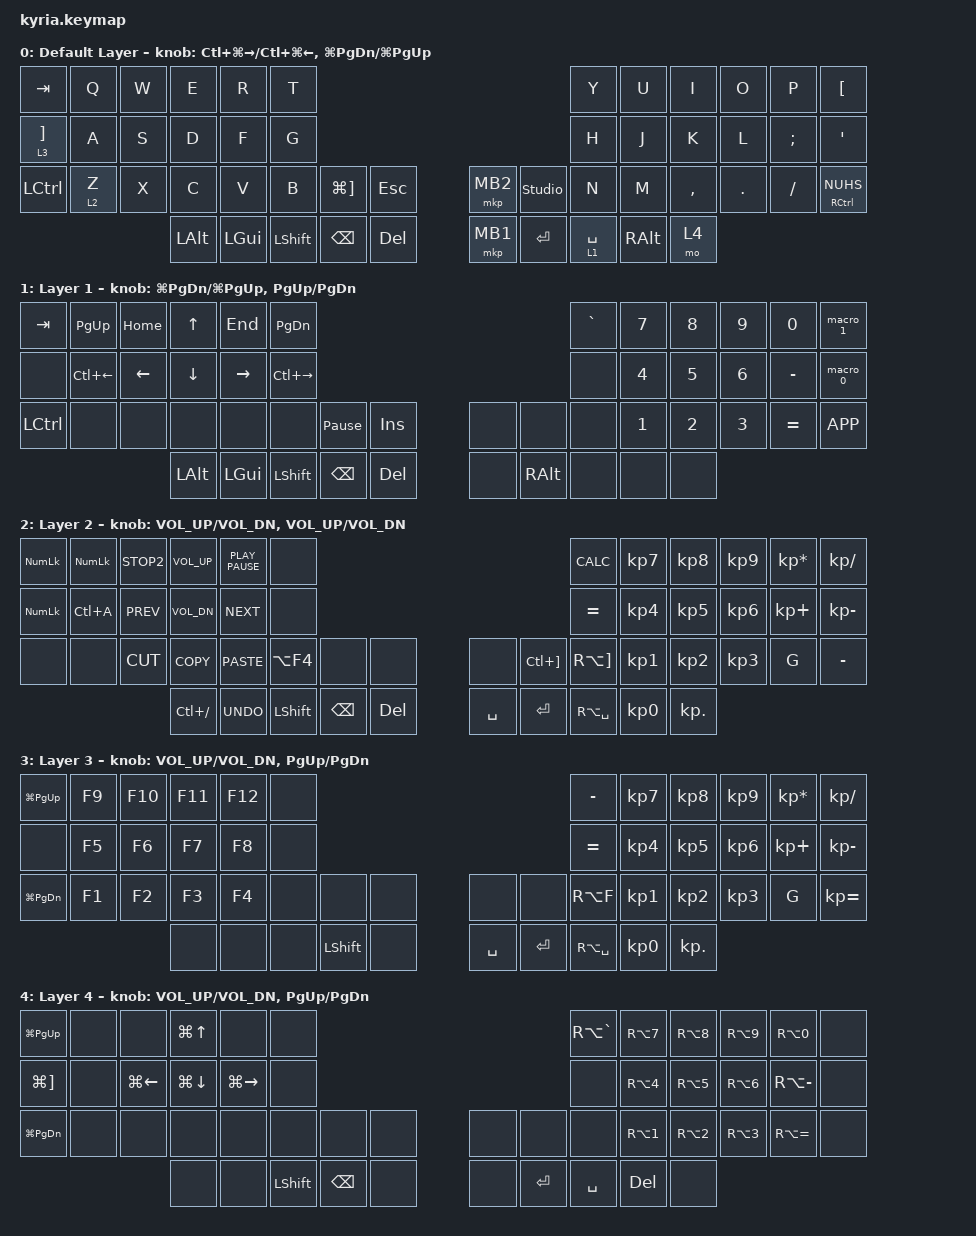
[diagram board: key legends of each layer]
/*
 * Copyright (c) 2020 The ZMK Contributors
 *
 * SPDX-License-Identifier: MIT
 */


#include <behaviors.dtsi>
#include <dt-bindings/zmk/bt.h>
#include <dt-bindings/zmk/keys.h>

#define ZMK_POINTING_DEFAULT_MOVE_VAL 1500  // default: 600
#define ZMK_POINTING_DEFAULT_SCRL_VAL 20    // default: 10

#include <dt-bindings/zmk/pointing.h>

/ {

    behaviors {

        macro_0: macro_0 {
            compatible = "zmk,behavior-macro";
            #binding-cells = <0>;
            bindings = <
                &kp SPACE
                &kp N2
                &kp N8
                &kp SPACE
            >;
        };

        macro_1: macro_1 {
            compatible = "zmk,behavior-macro";
            #binding-cells = <0>;
            bindings = <
                &kp SPACE
                &kp EQUAL
                &kp N3
                &kp EQUAL
                &kp SPACE
            >;
        };

        rot_kp: sensor_rotate_kp {
            compatible = "zmk,behavior-sensor-rotate-var";
            #sensor-binding-cells = <2>;
            bindings = <&kp>, <&kp>;
        };

        #if IS_RIGHT_HALF
        pointing: pointing {
            compatible = "zmk,behavior-pointing";
            #binding-cells = <0>;
        };
        #endif

    };

    keymap {
        compatible = "zmk,keymap";

        default_layer {
            display-name = "Default Layer";

            bindings = <
                &kp TAB  &kp Q  &kp W  &kp E  &kp R  &kp T                                  &kp Y  &kp U  &kp I  &kp O  &kp P  &kp LBKT
                &lt 3 RBKT  &kp A  &kp S  &kp D  &kp F  &kp G                               &kp H  &kp J  &kp K  &kp L  &kp SEMI  &kp SQT
                &kp LCTRL  &lt 2 Z  &kp X  &kp C  &kp V  &kp B  &kp LG(RBKT)  &kp ESC       &mkp MB2  &studio_unlock  &kp N  &kp M  &kp COMMA  &kp DOT  &kp SLASH  &mt RCTRL NUHS
                &kp LALT  &kp LGUI  &kp LSHIFT  &kp BSPC  &kp DEL                           &mkp MB1   &kp RET  &lt 1 SPACE  &kp RALT  &mo 4
            >;

            sensor-bindings = <&inc_dec_kp LC(LG(RIGHT)) LC(LG(LEFT)) &inc_dec_kp LG(PG_DN) LG(PG_UP) >;
        };
        layer_1 {
            display-name = "Layer 1";
            bindings = <
                &kp TAB  &kp PG_UP  &kp HOME  &kp UP  &kp END  &kp PG_DN                &kp GRAVE  &kp N7  &kp N8  &kp N9  &kp N0  &macro_1
                &none  &kp LC(LEFT)  &kp LEFT  &kp DOWN  &kp RIGHT  &kp LC(RIGHT)       &none  &kp N4  &kp N5  &kp N6  &kp MINUS  &macro_0
                &kp LCTRL  &none  &none  &none  &none  &none  &kp PAUSE_BREAK                 &kp INS  &none  &none &none  &kp N1  &kp N2  &kp N3  &kp EQUAL  &kp K_APP
                &kp LALT  &kp LGUI  &kp LSHIFT  &kp BSPC  &kp DEL                       &none  &kp RALT  &none  &none  &none
            >;

            sensor-bindings = <&inc_dec_kp LG(PG_DN) LG(PG_UP) &inc_dec_kp PG_UP PG_DN>;
        };
        layer_2 {
            display-name = "Layer 2";
            bindings = <
                &kp KP_NUM  &kp KP_NUM  &kp K_STOP2  &kp K_VOL_UP  &kp K_PLAY_PAUSE  &none          &kp K_CALC  &kp KP_N7  &kp KP_N8  &kp KP_N9  &kp KP_MULTIPLY  &kp KP_SLASH
                &kp KP_NUM  &kp LC(A) &kp K_PREV &kp K_VOL_DN  &kp K_NEXT &none      &kp EQUAL &kp KP_N4  &kp KP_N5  &kp KP_N6  &kp KP_PLUS  &kp KP_MINUS
                &none  &none &kp K_CUT  &kp K_COPY  &kp K_PASTE  &kp LA(F4)  &none  &none                   &none  &kp LC(RBKT)  &kp RA(RBKT)  &kp KP_N1  &kp KP_N2  &kp KP_N3  &kp G  &kp MINUS
                &kp LC(SLASH)  &kp K_UNDO  &kp LSHIFT  &kp BSPC  &kp DEL                                  &kp SPACE   &kp RET  &kp RA(SPACE)  &kp KP_N0  &kp KP_DOT
            >;

            sensor-bindings = <&inc_dec_kp C_VOL_UP C_VOL_DN &inc_dec_kp C_VOL_UP C_VOL_DN>;
        };
        layer_3 {
            display-name = "Layer 3";
            bindings = <
                &kp LG(PG_UP)  &kp F9  &kp F10  &kp F11  &kp F12  &none                 &kp MINUS  &kp KP_N7  &kp KP_N8  &kp KP_N9  &kp KP_MULTIPLY  &kp KP_SLASH
                &none  &kp F5   &kp F6  &kp F7  &kp F8 &none                            &kp EQUAL  &kp KP_N4  &kp KP_N5  &kp KP_N6  &kp KP_PLUS  &kp KP_MINUS
                &kp LG(PG_DN)  &kp F1  &kp F2  &kp F3  &kp F4 &none  &none  &none       &none  &none  &kp RA(F)  &kp KP_N1  &kp KP_N2  &kp KP_N3  &kp G  &kp KP_EQUAL
                &none  &none  &none  &kp LSHIFT  &none                                  &kp SPACE  &kp RET  &kp RA(SPACE)  &kp KP_N0  &kp KP_DOT
            >;

            sensor-bindings = <&inc_dec_kp C_VOL_UP C_VOL_DN &inc_dec_kp PG_UP PG_DN>;
        };
        layer_4 {
            display-name = "Layer 4";
            bindings = <
                &kp LG(PG_UP)  &none  &none  &kp LG(UP)  &none  &none                       &kp RA(GRAVE)  &kp RA(N7)  &kp RA(N8)  &kp RA(N9)  &kp RA(N0)   &none
                &kp LG(RBKT)  &none  &kp LG(LEFT)  &kp LG(DOWN)  &kp LG(RIGHT)  &none       &none  &kp RA(N4)  &kp RA(N5)  &kp RA(N6)  &kp RA(MINUS) &none
                &kp LG(PG_DN)  &none  &none  &none  &none &none  &none  &none               &none  &none  &none  &kp RA(N1)  &kp RA(N2)  &kp RA(N3)  &kp RA(EQUAL)   &none
                &none  &none  &kp LSHIFT  &kp BSPC   &none                                  &none  &kp RET  &kp SPACE  &kp DEL  &none
            >;

            sensor-bindings = <&inc_dec_kp C_VOL_UP C_VOL_DN &inc_dec_kp PG_UP PG_DN>;
        };
    };
};
